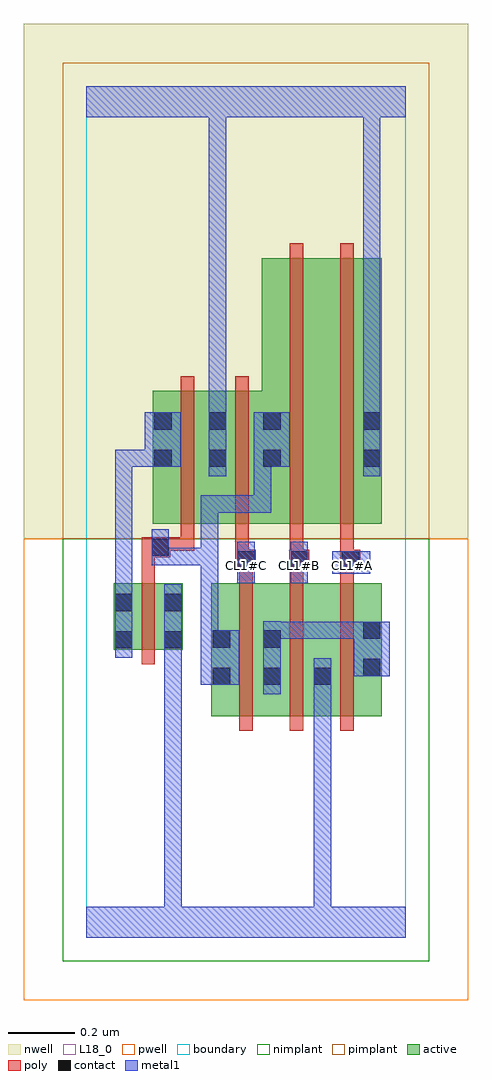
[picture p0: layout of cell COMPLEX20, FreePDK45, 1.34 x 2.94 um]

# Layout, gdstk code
import gdstk
lib = gdstk.Library(unit=1e-6, precision=1e-09)
def R(c, l, rs):  # rectangles x0, y0, x1, y1
    for r in rs: c.add(gdstk.rectangle(r[:2], r[2:], *l))
def A(c, l, x, y, w, h, nx, ny, dx, dy):  # array of equal rectangles
    R(c, l, [(x+i*dx, y+j*dy, x+i*dx+w, y+j*dy+h) for i in range(nx) for j in range(ny)])
active = (1, 0)
pwell = (2, 0)
nwell = (3, 0)
nimplant = (4, 0)
pimplant = (5, 0)
poly = (9, 0)
contact = (10, 0)
metal1 = (11, 0)
L18_0 = (18, 0)
boundary = (235, 0)

complex20 = lib.new_cell('COMPLEX20')
R(complex20, active, [(0.376,0.666,0.588,1.066), (0.528,0.666,0.74,1.066), (0.68,0.666,0.888,1.066), (0.68,0.666,0.74,1.066), (0.376,0.756,0.436,1.066), (0.528,0.756,0.588,0.928), (0.828,0.756,0.888,1.066), (0.082,0.866,0.142,1.066), (0.082,0.866,0.29,1.066), (0.23,0.866,0.29,1.066), (0.2,1.244,0.26,1.644), (0.2,1.244,0.424,1.644), (0.364,1.244,0.588,1.644), (0.528,1.244,0.588,2.044), (0.528,1.244,0.708,2.044), (0.708,1.244,0.888,2.044), (0.828,1.244,0.888,2.044), (0.364,1.412,0.424,1.644)])
R(complex20, pwell, [(-0.188,-0.188,1.148,1.2)])
R(complex20, nwell, [(-0.188,1.2,1.148,2.748)])
R(complex20, nimplant, [(-0.072,-0.072,1.032,1.2)])
R(complex20, pimplant, [(-0.072,1.2,1.032,2.632)])
A(complex20, poly, 0.46, 0.622, 0.04, 0.488, 3, 1, 0.152, 0)
A(complex20, poly, 0.46, 1.07, 0.04, 0.076, 3, 1, 0.152, 0)
R(complex20, poly, [(0.166,0.822,0.206,1.11), (0.166,1.07,0.206,1.184), (0.45,1.106,0.51,1.166), (0.61,1.106,0.67,1.166), (0.612,1.106,0.652,1.146), (0.612,1.106,0.652,1.146), (0.764,1.106,0.824,1.166), (0.448,1.126,0.488,1.24), (0.448,1.126,0.49,1.166), (0.45,1.126,0.49,1.166), (0.612,1.126,0.652,1.24), (0.764,1.126,0.804,1.24), (0.764,1.126,0.804,1.166), (0.764,1.126,0.804,1.166), (0.166,1.144,0.252,1.204), (0.212,1.164,0.252,1.204), (0.212,1.164,0.324,1.204), (0.284,1.164,0.324,1.24), (0.284,1.2,0.324,1.688), (0.448,1.2,0.488,1.688), (0.612,1.2,0.652,2.088), (0.764,1.2,0.804,2.088)])
A(complex20, contact, 0.38, 0.76, 0.052, 0.052, 3, 1, 0.152, 0)
A(complex20, contact, 0.204, 1.416, 0.052, 0.052, 3, 2, 0.164, 0.112)
R(complex20, contact, [(0.832,0.786,0.884,0.838), (0.086,0.87,0.138,0.922), (0.234,0.87,0.286,0.922), (0.38,0.872,0.432,0.924), (0.532,0.872,0.584,0.924), (0.832,0.898,0.884,0.95), (0.086,0.982,0.138,1.034), (0.234,0.982,0.286,1.034), (0.454,1.11,0.506,1.162), (0.614,1.11,0.666,1.162), (0.768,1.11,0.82,1.162), (0.196,1.148,0.248,1.2), (0.832,1.416,0.884,1.468), (0.832,1.528,0.884,1.58)])
R(complex20, metal1, [(0,0,0.96,0.092), (0.234,0.04,0.286,0.092), (0.234,0.04,0.286,0.092), (0.234,0.04,0.286,0.092), (0.234,0.04,0.286,0.092), (0.234,0.04,0.286,0.092), (0.234,0.04,0.286,0.092), (0.234,0.04,0.286,0.092), (0.234,0.04,0.286,0.092), (0.234,0.04,0.286,0.092), (0.234,0.04,0.286,0.092), (0.234,0.04,0.286,0.092), (0.234,0.04,0.286,0.092), (0.234,0.04,0.286,0.092), (0.234,0.04,0.286,0.092), (0.234,0.04,0.286,0.092), (0.234,0.04,0.286,0.092), (0.234,0.04,0.286,0.894), (0.684,0.04,0.736,0.092), (0.684,0.04,0.736,0.092), (0.684,0.04,0.736,0.092), (0.684,0.04,0.736,0.092), (0.684,0.04,0.736,0.092), (0.684,0.04,0.736,0.092), (0.684,0.04,0.736,0.092), (0.684,0.04,0.736,0.092), (0.684,0.04,0.736,0.092), (0.684,0.04,0.736,0.092), (0.684,0.04,0.736,0.092), (0.684,0.04,0.736,0.092), (0.684,0.04,0.736,0.784), (0.532,0.732,0.584,0.952), (0.684,0.732,0.736,0.84), (0.344,0.76,0.46,0.924), (0.804,0.786,0.912,0.95), (0.086,0.842,0.138,1.062), (0.234,0.842,0.286,1.062), (0.344,0.872,0.396,1.172), (0.532,0.898,0.584,0.95), (0.532,0.898,0.584,0.95), (0.532,0.898,0.722,0.95), (0.67,0.898,0.722,0.95), (0.67,0.898,0.856,0.95), (0.804,0.898,0.856,0.95), (0.804,0.898,0.856,0.95), (0.086,1.01,0.138,1.062), (0.086,1.01,0.138,1.062), (0.086,1.01,0.138,1.468), (0.454,1.066,0.506,1.19), (0.614,1.066,0.666,1.19), (0.74,1.094,0.854,1.162), (0.196,1.12,0.248,1.172), (0.196,1.12,0.248,1.172), (0.196,1.12,0.248,1.228), (0.196,1.12,0.396,1.172), (0.344,1.12,0.396,1.172), (0.344,1.12,0.396,1.33), (0.344,1.278,0.396,1.33), (0.344,1.278,0.396,1.33), (0.344,1.278,0.396,1.33), (0.344,1.278,0.556,1.33), (0.504,1.278,0.556,1.33), (0.504,1.278,0.556,1.468), (0.368,1.388,0.42,1.608), (0.832,1.388,0.884,1.608), (0.086,1.416,0.228,1.468), (0.176,1.416,0.228,1.468), (0.176,1.416,0.284,1.58), (0.504,1.416,0.612,1.58), (0.368,1.556,0.42,1.608), (0.368,1.556,0.42,1.608), (0.368,1.556,0.42,1.608), (0.368,1.556,0.42,1.608), (0.368,1.556,0.42,1.608), (0.368,1.556,0.42,1.608), (0.368,1.556,0.42,1.608), (0.368,1.556,0.42,1.608), (0.368,1.556,0.42,1.608), (0.368,1.556,0.42,1.608), (0.368,1.556,0.42,1.608), (0.368,1.556,0.42,1.608), (0.368,1.556,0.42,1.608), (0.368,1.556,0.42,1.608), (0.368,1.556,0.42,2.52), (0.832,1.556,0.884,1.608), (0.832,1.556,0.884,1.608), (0.832,1.556,0.884,1.608), (0.832,1.556,0.884,1.608), (0.832,1.556,0.884,1.608), (0.832,1.556,0.884,1.608), (0.832,1.556,0.884,1.608), (0.832,1.556,0.884,1.608), (0.832,1.556,0.884,2.52), (0,2.468,0.96,2.56), (0.368,2.468,0.42,2.52), (0.368,2.468,0.42,2.52)])
A(complex20, L18_0, 0.454, 1.094, 0.052, 0.052, 3, 1, 0.16, 0)
R(complex20, L18_0, [(0,0,0.96,0.092), (0.234,0.04,0.286,0.092), (0.234,0.04,0.286,0.092), (0.234,0.04,0.286,0.092), (0.234,0.04,0.286,0.092), (0.234,0.04,0.286,0.092), (0.234,0.04,0.286,0.092), (0.234,0.04,0.286,0.092), (0.234,0.04,0.286,0.092), (0.234,0.04,0.286,0.092), (0.234,0.04,0.286,0.092), (0.234,0.04,0.286,0.092), (0.234,0.04,0.286,0.092), (0.234,0.04,0.286,0.092), (0.234,0.04,0.286,0.092), (0.234,0.04,0.286,0.092), (0.234,0.04,0.286,0.092), (0.234,0.04,0.286,0.894), (0.684,0.04,0.736,0.092), (0.684,0.04,0.736,0.092), (0.684,0.04,0.736,0.092), (0.684,0.04,0.736,0.092), (0.684,0.04,0.736,0.092), (0.684,0.04,0.736,0.092), (0.684,0.04,0.736,0.092), (0.684,0.04,0.736,0.092), (0.684,0.04,0.736,0.092), (0.684,0.04,0.736,0.092), (0.684,0.04,0.736,0.092), (0.684,0.04,0.736,0.092), (0.684,0.04,0.736,0.784), (0.684,0.732,0.736,0.84), (0.234,0.842,0.286,1.062), (0.454,1.066,0.506,1.19), (0.614,1.066,0.666,1.19), (0.74,1.094,0.854,1.162), (0.368,1.388,0.42,1.608), (0.832,1.388,0.884,1.608), (0.368,1.556,0.42,1.608), (0.368,1.556,0.42,1.608), (0.368,1.556,0.42,1.608), (0.368,1.556,0.42,1.608), (0.368,1.556,0.42,1.608), (0.368,1.556,0.42,1.608), (0.368,1.556,0.42,1.608), (0.368,1.556,0.42,1.608), (0.368,1.556,0.42,1.608), (0.368,1.556,0.42,1.608), (0.368,1.556,0.42,1.608), (0.368,1.556,0.42,1.608), (0.368,1.556,0.42,1.608), (0.368,1.556,0.42,1.608), (0.368,1.556,0.42,2.52), (0.832,1.556,0.884,1.608), (0.832,1.556,0.884,1.608), (0.832,1.556,0.884,1.608), (0.832,1.556,0.884,1.608), (0.832,1.556,0.884,1.608), (0.832,1.556,0.884,1.608), (0.832,1.556,0.884,1.608), (0.832,1.556,0.884,1.608), (0.832,1.556,0.884,2.52), (0,2.468,0.96,2.56), (0.368,2.468,0.42,2.52), (0.368,2.468,0.42,2.52)])
R(complex20, boundary, [(0,0,0.96,2.56)])
complex20.add(gdstk.Label('CL1#A', (0.8,1.12), layer=11, texttype=0))
complex20.add(gdstk.Label('CL1#B', (0.64,1.12), layer=11, texttype=0))
complex20.add(gdstk.Label('CL1#C', (0.48,1.12), layer=11, texttype=0))

lib.write_gds('COMPLEX20.gds')
